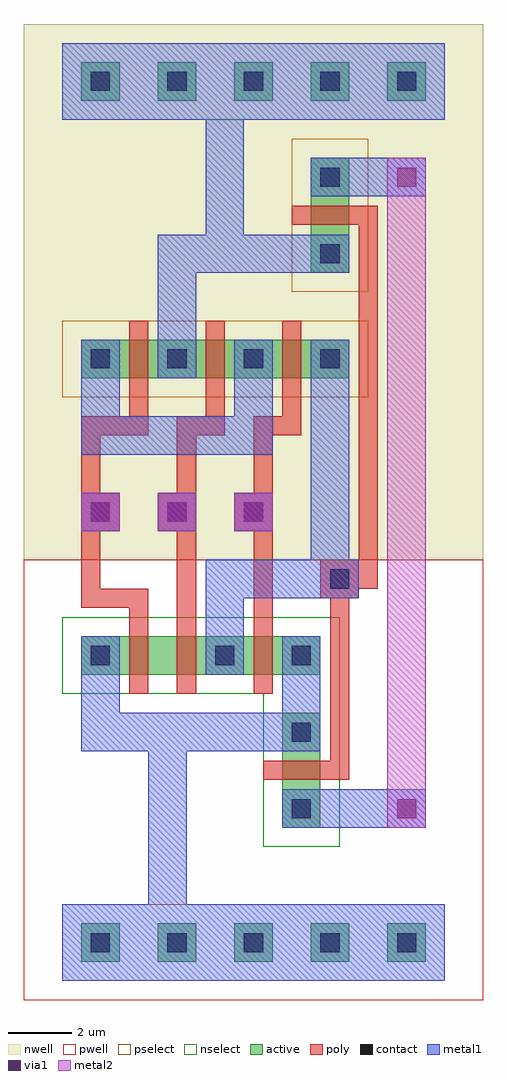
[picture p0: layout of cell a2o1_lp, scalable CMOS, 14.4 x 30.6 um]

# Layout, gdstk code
import gdstk
lib = gdstk.Library(unit=1e-6, precision=1e-09)
def R(c, l, rs):  # rectangles x0, y0, x1, y1
    for r in rs: c.add(gdstk.rectangle(r[:2], r[2:], *l))
def A(c, l, x, y, w, h, nx, ny, dx, dy):  # array of equal rectangles
    R(c, l, [(x+i*dx, y+j*dy, x+i*dx+w, y+j*dy+h) for i in range(nx) for j in range(ny)])
contact = (25, 0)
pwell = (41, 0)
nwell = (42, 0)
active = (43, 0)
pselect = (44, 0)
nselect = (45, 0)
poly = (46, 0)
metal1 = (49, 0)
via1 = (50, 0)
metal2 = (51, 0)

a2o1_lp = lib.new_cell('a2o1_lp')
A(a2o1_lp, contact, 0.3, -0.3, 0.6, 0.6, 5, 2, 2.4, 27)
A(a2o1_lp, contact, 6.6, 3.9, 0.6, 0.6, 1, 3, 0, 2.4)
A(a2o1_lp, contact, 0.3, 13.2, 0.6, 0.6, 3, 1, 2.4, 0)
A(a2o1_lp, contact, 0.3, 18, 0.6, 0.6, 4, 1, 2.4, 0)
R(a2o1_lp, contact, [(0.3,8.7,0.9,9.3), (4.2,8.7,4.8,9.3), (7.8,11.1,8.4,11.7), (7.5,21.3,8.1,21.9), (7.5,23.7,8.1,24.3)])
A(a2o1_lp, pwell, -0.9, -1.5, 3, 3, 5, 1, 2.4, 0)
A(a2o1_lp, pwell, 4.5, 1.8, 4.8, 4.8, 1, 3, 0, 2.4)
R(a2o1_lp, pwell, [(-1.8,-1.8,12.6,12), (4.65,1.95,9.15,6.525), (4.5,2.4,9.3,8.4), (4.5,4.275,9,8.85), (-1.8,6.6,3,11.4), (-1.2,6.6,4.8,11.4), (0.3,6.6,6.3,11.4), (2.1,6.6,6.9,11.4), (2.7,6.6,8.7,11.4), (-1.65,6.9,2.925,11.4), (-0.075,6.9,5.175,11.4), (2.175,6.9,6.75,11.4), (2.25,6.9,6.825,11.4), (4.575,6.9,9.15,11.4)])
A(a2o1_lp, nwell, -1.8, 15.9, 4.8, 4.8, 4, 1, 2.4, 0)
A(a2o1_lp, nwell, -1.2, 15.9, 6, 4.8, 3, 1, 2.4, 0)
A(a2o1_lp, nwell, -0.9, 25.5, 3, 3, 5, 1, 2.4, 0)
R(a2o1_lp, nwell, [(-1.8,12,12.6,28.8), (5.475,16.125,10.05,20.625), (-1.65,16.2,2.925,20.7), (0.675,16.2,5.259,20.7), (0.759,16.2,5.325,20.7), (3.075,16.2,7.659,20.7), (3.159,16.2,7.725,20.7), (5.4,19.2,10.2,24), (5.568,19.35,10.068,23.925), (5.4,19.8,10.2,25.8), (5.4,21.6,10.2,26.4), (5.7,21.675,10.2,26.25)])
A(a2o1_lp, active, 0, -0.6, 1.2, 1.2, 5, 2, 2.4, 27)
A(a2o1_lp, active, 6.3, 3.6, 1.2, 1.2, 1, 3, 0, 2.4)
A(a2o1_lp, active, 0, 17.7, 1.2, 1.2, 4, 1, 2.4, 0)
A(a2o1_lp, active, 0.6, 17.7, 2.4, 1.2, 3, 1, 2.4, 0)
R(a2o1_lp, active, [(6.45,3.75,7.35,4.725), (6.3,4.2,7.5,6.6), (6.3,6.075,7.2,7.05), (0,8.4,1.2,9.6), (0.6,8.4,3,9.6), (2.1,8.4,4.5,9.6), (3.9,8.4,5.1,9.6), (4.5,8.4,6.9,9.6), (0.15,8.7,1.125,9.6), (1.725,8.7,3.375,9.6), (3.975,8.7,4.95,9.6), (4.05,8.7,5.025,9.6), (6.375,8.7,7.35,9.6), (7.275,17.925,8.25,18.825), (0.15,18,1.125,18.9), (2.475,18,3.459,18.9), (2.559,18,3.525,18.9), (4.875,18,5.859,18.9), (4.959,18,5.925,18.9), (7.2,21,8.4,22.2), (7.368,21.15,8.268,22.125), (7.2,21.6,8.4,24), (7.2,23.4,8.4,24.6), (7.5,23.475,8.4,24.45)])
A(a2o1_lp, pselect, -0.6, -1.2, 2.4, 2.4, 5, 1, 2.4, 0)
A(a2o1_lp, pselect, -0.6, 17.1, 2.4, 2.4, 4, 1, 2.4, 0)
A(a2o1_lp, pselect, 0, 17.1, 3.6, 2.4, 3, 1, 2.4, 0)
R(a2o1_lp, pselect, [(6.675,17.325,8.85,19.425), (-0.45,17.4,1.725,19.5), (1.875,17.4,4.059,19.5), (1.959,17.4,4.125,19.5), (4.275,17.4,6.459,19.5), (4.359,17.4,6.525,19.5), (6.6,20.4,9,22.8), (6.768,20.55,8.868,22.725), (6.6,21,9,24.6), (6.6,22.8,9,25.2), (6.9,22.875,9,25.05)])
A(a2o1_lp, nselect, 5.7, 3, 2.4, 2.4, 1, 3, 0, 2.4)
A(a2o1_lp, nselect, -0.6, 25.8, 2.4, 2.4, 5, 1, 2.4, 0)
R(a2o1_lp, nselect, [(5.85,3.15,7.95,5.325), (5.7,3.6,8.1,7.2), (5.7,5.475,7.8,7.65), (-0.6,7.8,1.8,10.2), (0,7.8,3.6,10.2), (1.5,7.8,5.1,10.2), (3.3,7.8,5.7,10.2), (3.9,7.8,7.5,10.2), (-0.45,8.1,1.725,10.2), (1.125,8.1,3.975,10.2), (3.375,8.1,5.55,10.2), (3.45,8.1,5.625,10.2), (5.775,8.1,7.95,10.2)])
A(a2o1_lp, poly, 0, 12.9, 1.2, 1.2, 3, 1, 2.4, 0)
A(a2o1_lp, poly, 1.5, 15.9, 0.6, 1.5, 3, 1, 2.4, 0)
A(a2o1_lp, poly, 1.5, 17.1, 0.6, 2.4, 3, 1, 2.4, 0)
R(a2o1_lp, poly, [(5.7,5.1,8.1,5.7), (7.8,5.1,8.4,11.7), (1.5,7.8,2.1,10.2), (3,7.8,3.6,10.2), (5.4,7.8,6,10.2), (1.5,9.9,2.1,11.1), (3,9.9,3.6,13.8), (5.4,9.9,6,13.8), (0,10.5,2.1,11.1), (0,10.5,0.9,11.1), (0,10.5,0.6,13.8), (7.5,10.8,8.7,12), (7.65,11.1,8.4,11.7), (7.8,11.1,9.3,11.7), (8.7,11.1,9.3,23.1), (0,13.2,0.9,13.8), (0,13.2,0.6,16.5), (2.7,13.2,3.6,13.8), (3,13.2,3.6,16.5), (5.1,13.2,6,13.8), (5.4,13.2,6,16.5), (0,15.9,2.1,16.5), (3,15.9,4.5,16.5), (5.4,15.9,6.9,16.5), (6.6,22.5,9,23.1)])
A(a2o1_lp, metal1, 0, -0.6, 1.2, 1.2, 5, 1, 2.4, 0)
A(a2o1_lp, metal1, 6.3, 3.6, 1.2, 1.2, 1, 3, 0, 2.4)
A(a2o1_lp, metal1, 0, 17.7, 1.2, 1.2, 4, 2, 2.4, 8.7)
A(a2o1_lp, metal1, -0.6, 25.8, 4.8, 2.4, 4, 1, 2.4, 0)
R(a2o1_lp, metal1, [(-0.6,-1.2,3.9,1.2), (-0.6,-1.2,4.05,1.2), (1.5,-1.2,4.05,1.2), (1.65,-1.2,6.6,1.2), (4.2,-1.2,9,1.2), (5.7,-1.2,9,1.2), (6.6,-1.2,11.4,1.2), (9,-1.2,11.4,1.2), (2.1,-0.6,3.3,7.2), (0.15,-0.45,1.05,0.45), (7.35,-0.45,8.25,0.45), (6.3,3.6,10.8,4.8), (9.6,3.6,10.8,4.8), (0,6,1.2,9.6), (0,6,3.3,7.2), (2.1,6,7.5,7.2), (6.3,6,7.5,9.6), (0,8.4,1.2,9.6), (3.9,8.4,5.1,9.6), (3.9,8.4,5.1,12), (3.9,10.8,8.7,12), (7.2,10.8,8.55,12), (7.2,10.8,8.4,18.9), (7.5,10.8,8.7,12), (0,12.9,1.2,14.1), (0,12.9,1.2,14.1), (0,12.9,1.2,14.1), (0,12.9,1.2,14.1), (2.4,12.9,3.6,14.1), (2.4,12.9,3.6,14.1), (4.8,12.9,6,14.1), (4.8,12.9,6,14.1), (4.8,12.9,6,14.1), (2.55,13.05,3.45,13.95), (0,15.3,6,16.5), (0,15.3,1.2,18.9), (4.8,15.3,6,18.9), (2.4,17.7,3.6,22.2), (2.4,21,5.1,22.2), (3.9,21,8.4,22.2), (3.9,21,5.1,27.6), (7.2,21,8.4,22.2), (7.191,23.4,10.8,24.6), (7.2,23.4,8.4,24.6), (9.6,23.4,10.8,24.6), (-0.6,25.8,1.8,28.2), (-0.6,25.8,4.2,28.2), (1.8,25.8,5.7,28.2), (3.3,25.8,9,28.2), (0,26.4,1.2,27.6), (7.2,26.4,8.4,27.6), (9.6,26.4,10.8,27.6), (0.15,26.55,1.05,27.45)])
A(a2o1_lp, via1, 0.3, 13.2, 0.6, 0.6, 3, 1, 2.4, 0)
R(a2o1_lp, via1, [(9.9,3.9,10.5,4.5), (9.9,23.7,10.5,24.3)])
A(a2o1_lp, metal2, 0, 12.9, 1.2, 1.2, 3, 1, 2.4, 0)
R(a2o1_lp, metal2, [(9.6,3.6,10.8,4.8), (9.6,3.6,10.8,15), (9.6,13.8,10.8,24.6), (9.6,23.4,10.8,24.6)])

lib.write_gds('a2o1_lp.gds')
